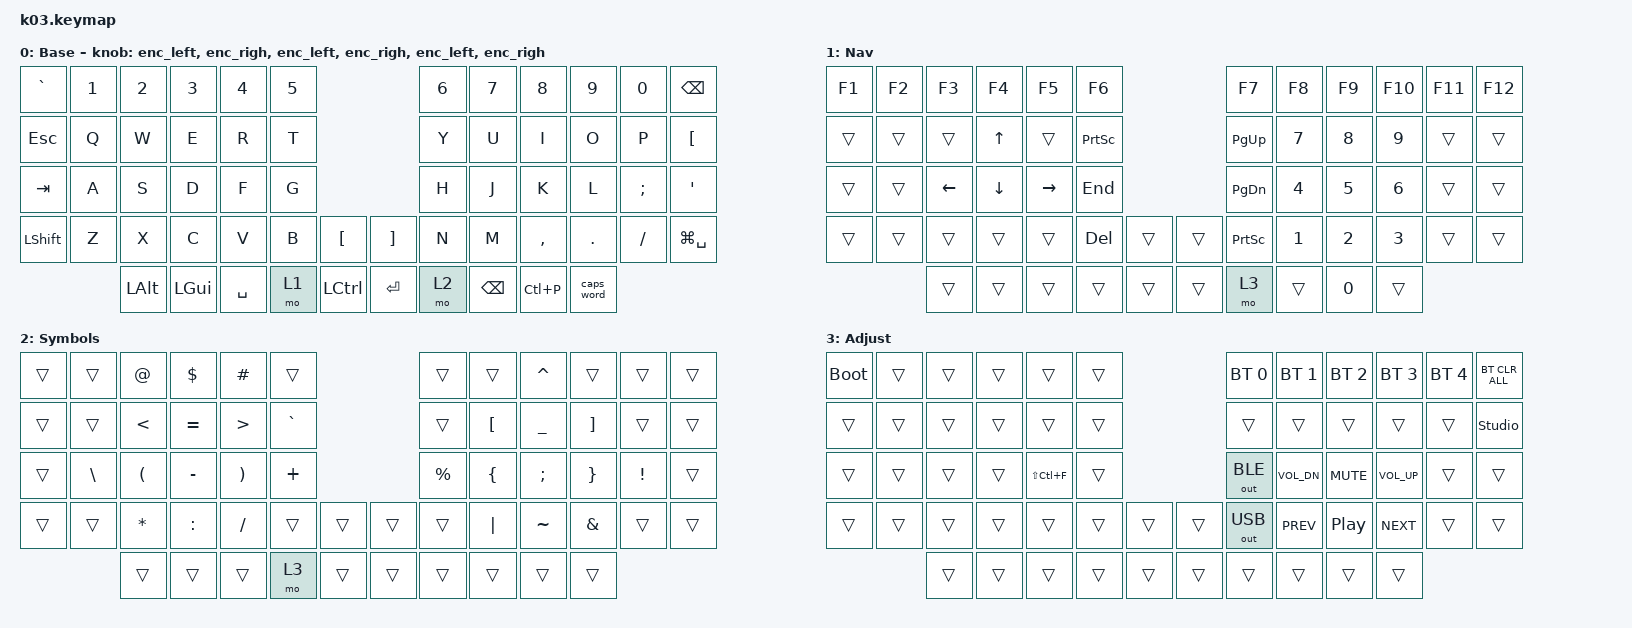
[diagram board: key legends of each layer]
#include <behaviors.dtsi>
#include <dt-bindings/zmk/bt.h>
#include <dt-bindings/zmk/keys.h>
#include <dt-bindings/zmk/outputs.h>
#include <dt-bindings/zmk/pointing.h>

/ {
    behaviors {
        enc_vol: enc_vol {
            compatible = "zmk,behavior-sensor-rotate";
            label = "ENC_VOL";
            #sensor-binding-cells = <0>;
            bindings = <&kp C_VOL_UP>, <&kp C_VOL_DN>;
        };

        enc_left: enc_left {
            compatible = "zmk,behavior-sensor-rotate";
            label = "ENC_LEFT";
            #sensor-binding-cells = <0>;
            bindings = <&kp RIGHT>, <&kp LG(TAB)>;
        };

        enc_righ: enc_righ {
            compatible = "zmk,behavior-sensor-rotate";
            label = "ENC_RIGH";
            #sensor-binding-cells = <0>;
            bindings = <&msc SCRL_UP>, <&msc SCRL_DOWN>;
        };
    };

    keymap {
        compatible = "zmk,keymap";

        base {
            bindings = <
&kp GRAVE       &kp N1  &kp N2        &kp N3    &kp N4     &kp N5                          &kp N6  &kp N7    &kp N8     &kp N9      &kp N0    &kp BSPC
&kp ESC         &kp Q   &kp W         &kp E     &kp R      &kp T                           &kp Y   &kp U     &kp I      &kp O       &kp P     &kp LBKT
&kp TAB         &kp A   &kp S         &kp D     &kp F      &kp G                           &kp H   &kp J     &kp K      &kp L       &kp SEMI  &kp SQT
&kp LEFT_SHIFT  &kp Z   &kp X         &kp C     &kp V      &kp B   &kp LBKT     &kp RBKT   &kp N   &kp M     &kp COMMA  &kp DOT     &kp FSLH  &kp LG(SPACE)
                        &kp LEFT_ALT  &kp LGUI  &kp SPACE  &mo 1   &kp LCTRL    &kp ENTER  &mo 2   &kp BSPC  &kp LC(P)  &caps_word
            >;

            display-name = "Base";
            sensor-bindings =
                <&enc_left>,
                <&enc_righ>,
                <&enc_left>,
                <&enc_righ>,
                <&enc_left>,
                <&enc_righ>;
        };

        nav {
            bindings = <
&kp F1  &kp F2  &kp F3    &kp F4    &kp F5     &kp F6                             &kp F7           &kp F8  &kp F9  &kp F10  &kp F11  &kp F12
&trans  &trans  &trans    &kp UP    &trans     &kp PRINTSCREEN                    &kp PG_UP        &kp N7  &kp N8  &kp N9   &trans   &trans
&trans  &trans  &kp LEFT  &kp DOWN  &kp RIGHT  &kp END                            &kp PG_DN        &kp N4  &kp N5  &kp N6   &trans   &trans
&trans  &trans  &trans    &trans    &trans     &kp DEL          &trans    &trans  &kp PRINTSCREEN  &kp N1  &kp N2  &kp N3   &trans   &trans
                &trans    &trans    &trans     &trans           &trans    &trans  &mo 3            &trans  &kp N0  &trans
            >;

            display-name = "Nav";
        };

        sym {
            bindings = <
&trans  &trans    &kp AT    &kp DLLR   &kp HASH  &trans                       &trans     &trans    &kp CARET  &trans    &trans    &trans
&trans  &trans    &kp LT    &kp EQUAL  &kp GT    &kp GRAVE                    &trans     &kp LBKT  &kp UNDER  &kp RBKT  &trans    &trans
&trans  &kp BSLH  &kp LPAR  &kp MINUS  &kp RPAR  &kp PLUS                     &kp PRCNT  &kp LBRC  &kp SEMI   &kp RBRC  &kp EXCL  &trans
&trans  &trans    &kp STAR  &kp COLON  &kp FSLH  &trans     &trans    &trans  &trans     &kp PIPE  &kp TILDE  &kp AMPS  &trans    &trans
                  &trans    &trans     &trans    &mo 3      &trans    &trans  &trans     &trans    &trans     &trans
            >;

            display-name = "Symbols";
        };

        adj {
            bindings = <
&bootloader  &trans  &trans  &trans  &trans         &trans                    &bt BT_SEL 0  &bt BT_SEL 1  &bt BT_SEL 2      &bt BT_SEL 3  &bt BT_SEL 4  &bt BT_CLR_ALL
&trans       &trans  &trans  &trans  &trans         &trans                    &trans        &trans        &trans            &trans        &trans        &studio_unlock
&trans       &trans  &trans  &trans  &kp LS(LC(F))  &trans                    &out OUT_BLE  &kp C_VOL_DN  &kp C_MUTE        &kp C_VOL_UP  &trans        &trans
&trans       &trans  &trans  &trans  &trans         &trans  &trans    &trans  &out OUT_USB  &kp C_PREV    &kp C_PLAY_PAUSE  &kp C_NEXT    &trans        &trans
                     &trans  &trans  &trans         &trans  &trans    &trans  &trans        &trans        &trans            &trans
            >;

            display-name = "Adjust";
        };
    };
};
